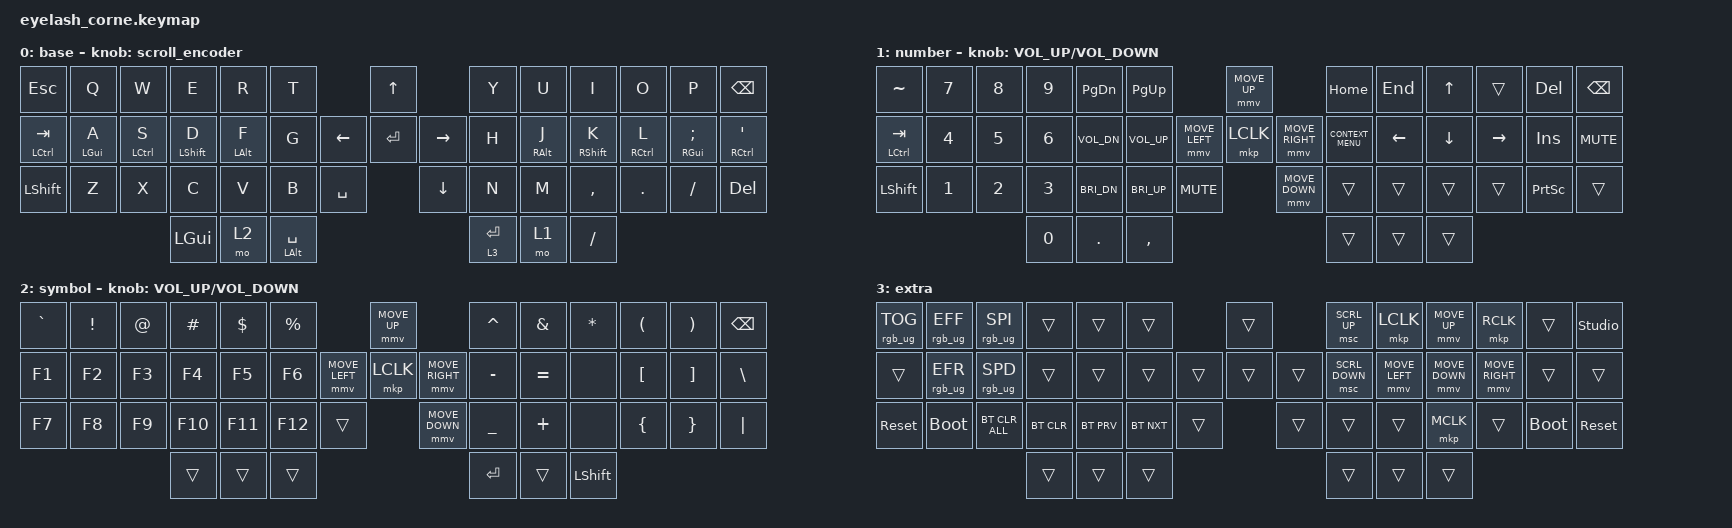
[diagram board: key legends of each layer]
#define ZMK_POINTING_DEFAULT_MOVE_VAL 600  // 600
#define ZMK_POINTING_DEFAULT_SCRL_VAL 80 // 10

#include <input/processors.dtsi>
#include <zephyr/dt-bindings/input/input-event-codes.h>
#include <behaviors.dtsi>
#include <dt-bindings/zmk/bt.h>
#include <dt-bindings/zmk/keys.h>
#include <dt-bindings/zmk/pointing.h>
#include <dt-bindings/zmk/rgb.h>

&mmv_input_listener { input-processors = <&zip_xy_scaler 2 1>; };

&msc_input_listener { input-processors = <&zip_scroll_scaler 2 1>; };

&msc {
    acceleration-exponent = <1>;      // 0
    time-to-max-speed-ms = <100>;       // 300
    delay-ms = <0>;                   // 0
};

&mmv {
    time-to-max-speed-ms = <500>;
    acceleration-exponent = <1>;
    trigger-period-ms = <16>;
};

/ {
    behaviors {
        home_row: home_row {
            compatible = "zmk,behavior-hold-tap";
            label = "HOME_ROW";
            bindings = <&kp>, <&kp>;

            #binding-cells = <2>;
            tapping-term-ms = <200>;
            flavor = "tap-preferred";
        };
    };

    rgb_encoder: rgb_encoder {
        compatible = "zmk,behavior-sensor-rotate";
        #sensor-binding-cells = <0>;
        bindings = <&rgb_ug RGB_BRI>, <&rgb_ug RGB_BRD>;
    };

    scroll_encoder: scroll_encoder {
        compatible = "zmk,behavior-sensor-rotate";
        #sensor-binding-cells = <0>;
        bindings = <&msc SCRL_DOWN>, <&msc SCRL_UP>;

        tap-ms = <100>;
    };

    combos {
        compatible = "zmk,combos";

        delc {
            bindings = <&kp DEL>;
            key-positions = <11 12>;
            timeout-ms = <30>;
        };

        LEFT_CIRCLE {
            bindings = <&kp LS(LEFT_PARENTHESIS)>;
            key-positions = <3 4>;
            timeout-ms = <30>;
        };

        RIGHT_CIRCLE {
            bindings = <&kp LS(RIGHT_PARENTHESIS)>;
            key-positions = <8 9>;
            timeout-ms = <30>;
        };

        LEFT_SQUARE {
            bindings = <&kp LEFT_BRACKET>;
            key-positions = <17 16>;
            timeout-ms = <30>;
        };

        RIGHT_SQUARE {
            bindings = <&kp RIGHT_BRACKET>;
            key-positions = <23 24>;
            timeout-ms = <30>;
        };

        LEFT_SQUIGGLY {
            bindings = <&kp LEFT_BRACE>;
            key-positions = <32 31>;
            timeout-ms = <30>;
        };

        RIGHT_SQUIGGLY {
            bindings = <&kp RIGHT_BRACE>;
            key-positions = <37 38>;
            timeout-ms = <30>;
        };

        CAPS_WORD {
            bindings = <&caps_word>;
            key-positions = <17 23>;
        };
    };

    keymap {
        compatible = "zmk,keymap";

        base_layer {
            display-name = "base";
            bindings = <
&kp ESC        &kp Q             &kp W              &kp E                   &kp R                 &kp T                                      &kp UP                &kp Y        &kp U                  &kp I                    &kp O              &kp P                          &kp BSPC
&mt LCTRL TAB  &home_row LGUI A  &home_row LCTRL S  &home_row LEFT_SHIFT D  &home_row LEFT_ALT F  &kp G                            &kp LEFT  &kp ENTER  &kp RIGHT  &kp H        &home_row RIGHT_ALT J  &home_row RIGHT_SHIFT K  &home_row RCTRL L  &home_row RIGHT_GUI SEMICOLON  &mt RCTRL SINGLE_QUOTE
&kp LSHFT      &kp Z             &kp X              &kp C                   &kp V                 &kp B               &kp SPACE              &kp DOWN              &kp N        &kp M                  &kp COMMA                &kp DOT            &kp SLASH                      &kp DELETE
                                                    &kp LGUI                &mo 2                 &mt LEFT_ALT SPACE                                               &lt 3 ENTER  &mo 1                  &kp SLASH
            >;

            sensor-bindings = <&scroll_encoder>;
        };

        number_layer {
            display-name = "number";
            bindings = <
&kp TILDE       &kp N7        &kp N8        &kp N9        &kp PG_DN     &kp PG_UP                                   &mmv MOVE_UP                     &kp HOME            &kp END   &kp UP    &trans     &kp DELETE       &kp BACKSPACE
&mt LCTRL TAB   &kp NUMBER_4  &kp N5        &kp NUMBER_6  &kp C_VOL_DN  &kp C_VOL_UP                &mmv MOVE_LEFT  &mkp LCLK       &mmv MOVE_RIGHT  &kp K_CONTEXT_MENU  &kp LEFT  &kp DOWN  &kp RIGHT  &kp INS          &kp C_MUTE
&kp LEFT_SHIFT  &kp NUMBER_1  &kp NUMBER_2  &kp NUMBER_3  &kp C_BRI_DN  &kp C_BRI_UP  &kp C_MUTE                    &mmv MOVE_DOWN                   &trans              &trans    &trans    &trans     &kp PRINTSCREEN  &trans
                                            &kp NUMBER_0  &kp PERIOD    &kp COMMA                                                                    &trans              &trans    &trans
            >;

            sensor-bindings = <&inc_dec_kp C_VOLUME_UP K_VOLUME_DOWN>;
        };

        symbol_layer {
            display-name = "symbol";
            bindings = <
&kp GRAVE  &kp EXCLAMATION  &kp AT_SIGN  &kp HASH  &kp DOLLAR  &kp PERCENT                            &mmv MOVE_UP                     &kp CARET       &kp AMPERSAND  &kp ASTERISK    &kp LEFT_PARENTHESIS  &kp RIGHT_PARENTHESIS  &kp BACKSPACE
&kp F1     &kp F2           &kp F3       &kp F4    &kp F5      &kp F6                 &mmv MOVE_LEFT  &mkp LCLK       &mmv MOVE_RIGHT  &kp MINUS       &kp EQUAL      &none           &kp LEFT_BRACKET      &kp RIGHT_BRACKET      &kp BSLH
&kp F7     &kp F8           &kp F9       &kp F10   &kp F11     &kp F12      &trans                    &mmv MOVE_DOWN                   &kp UNDERSCORE  &kp PLUS       &none           &kp LEFT_BRACE        &kp RIGHT_BRACE        &kp PIPE
                                         &trans    &trans      &trans                                                                  &kp RET         &trans         &kp LEFT_SHIFT
            >;

            sensor-bindings = <&inc_dec_kp C_VOLUME_UP K_VOLUME_DOWN>;
        };

        extra_layer {
            display-name = "extra";
            bindings = <
&rgb_ug RGB_TOG  &rgb_ug RGB_EFF  &rgb_ug RGB_SPI  &trans      &trans      &trans                        &trans          &msc SCRL_UP    &mkp LCLK       &mmv MOVE_UP    &mkp RCLK        &trans       &studio_unlock
&trans           &rgb_ug RGB_EFR  &rgb_ug RGB_SPD  &trans      &trans      &trans                &trans  &trans  &trans  &msc SCRL_DOWN  &mmv MOVE_LEFT  &mmv MOVE_DOWN  &mmv MOVE_RIGHT  &trans       &trans
&sys_reset       &bootloader      &bt BT_CLR_ALL   &bt BT_CLR  &bt BT_PRV  &bt BT_NXT  &trans            &trans          &trans          &trans          &mkp MCLK       &trans           &bootloader  &sys_reset
                                                   &trans      &trans      &trans                                        &trans          &trans          &trans
            >;
        };
    };
};
